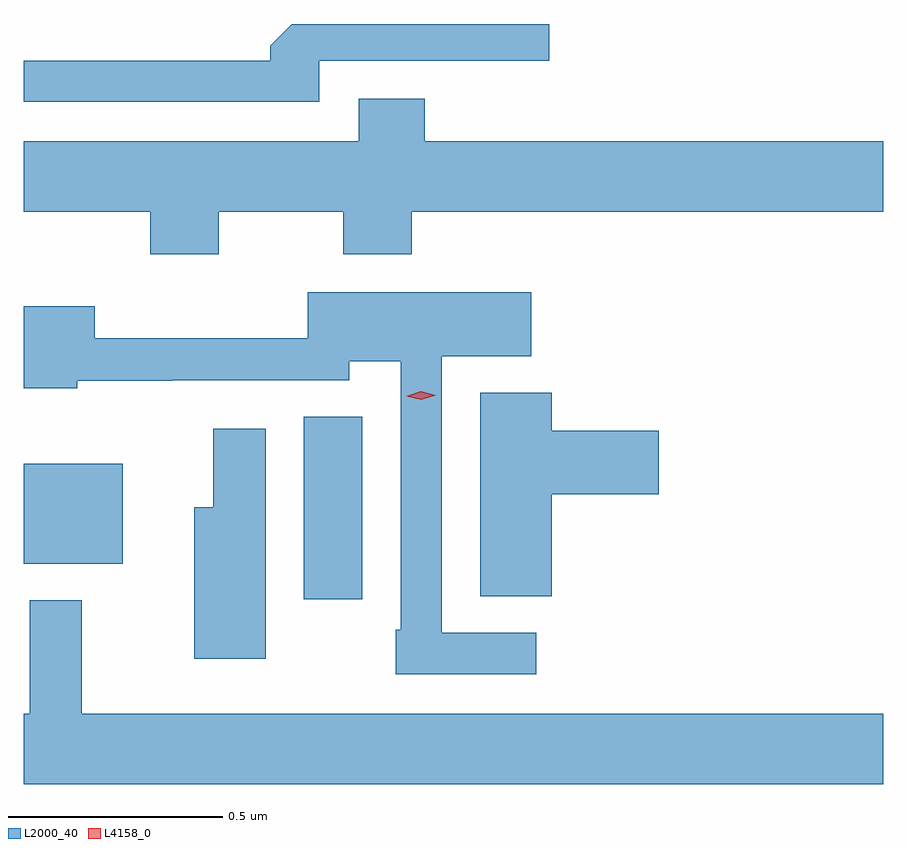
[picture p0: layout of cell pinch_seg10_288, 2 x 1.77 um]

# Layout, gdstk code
import gdstk
lib = gdstk.Library(unit=1e-6, precision=1e-09)
def R(c, l, rs):  # rectangles x0, y0, x1, y1
    for r in rs: c.add(gdstk.rectangle(r[:2], r[2:], *l))
def P(c, l, *ps):  # polygons
    for p in ps: c.add(gdstk.Polygon(p, *l))
L2000_40 = (2000, 40)
L4158_0 = (4158, 0)

pinch_seg10_288 = lib.new_cell('pinch_seg10_288')
R(pinch_seg10_288, L2000_40, [(509.006,1300.746,509.143,1301.171), (508.355,1300.829,508.585,1301.062)])
P(pinch_seg10_288, L2000_40, [(509.043,1302),(509.578,1302),(509.578,1302.085),(508.978,1302.085),(508.928,1302.034),(508.928,1302),(508.355,1302),(508.355,1301.904),(509.043,1301.904)],
  [(508.809,1301.648),(509.098,1301.648),(509.098,1301.549),(509.258,1301.549),(509.258,1301.648),(510.355,1301.648),(510.355,1301.812),(509.288,1301.812),(509.288,1301.911),(509.135,1301.911),(509.135,1301.812),(508.355,1301.812),(508.355,1301.648),(508.649,1301.648),(508.649,1301.549),(508.809,1301.549)],
  [(509.548,1300.668),(509.328,1300.668),(509.328,1301.312),(509.536,1301.312),(509.536,1301.461),(509.016,1301.461),(509.016,1301.354),(508.52,1301.354),(508.52,1301.428),(508.355,1301.428),(508.355,1301.237),(508.479,1301.237),(508.479,1301.255),(508.7,1301.255),(508.7,1301.256),(509.112,1301.256),(509.112,1301.3),(509.232,1301.3),(509.232,1300.675),(509.22,1300.675),(509.22,1300.572),(509.548,1300.572)],
  [(509.584,1300.991),(509.833,1300.991),(509.833,1301.138),(509.584,1301.138),(509.584,1301.227),(509.417,1301.227),(509.417,1300.753),(509.584,1300.753)],
  [(508.918,1301.143),(508.796,1301.143),(508.796,1300.96),(508.751,1300.96),(508.751,1300.608),(508.918,1300.608)],
  [(510.355,1300.48),(508.49,1300.48),(508.49,1300.744),(508.369,1300.744),(508.369,1300.48),(508.355,1300.48),(508.355,1300.316),(510.355,1300.316)])
P(pinch_seg10_288, L4158_0, [(509.28,1301.21),(509.245,1301.218),(509.245,1301.218),(509.245,1301.218),(509.279,1301.23),(509.314,1301.221),(509.314,1301.221),(509.314,1301.221)])

lib.write_gds('pinch_seg10_288.gds')
